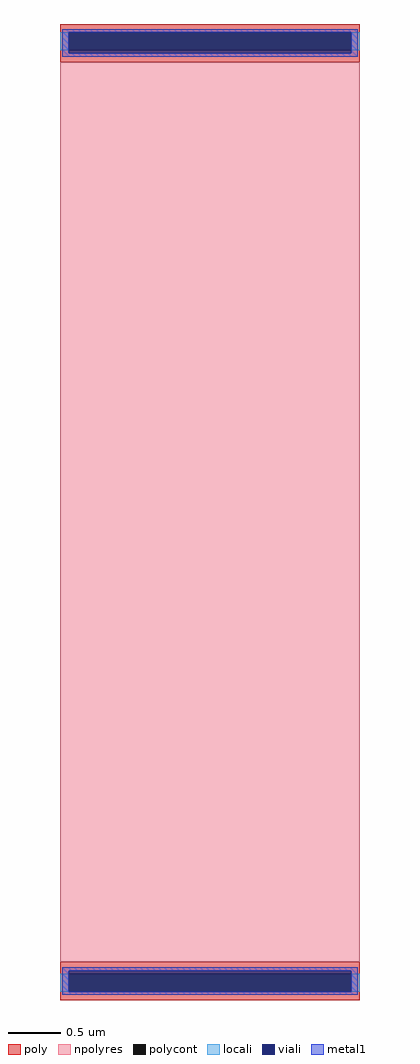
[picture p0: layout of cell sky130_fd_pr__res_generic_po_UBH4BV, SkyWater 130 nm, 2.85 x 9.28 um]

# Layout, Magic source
magic
tech sky130A
magscale 1 2
<< poly >>
rect -285 912 285 928
rect -285 878 -269 912
rect 269 878 285 912
rect -285 855 285 878
rect -285 -878 285 -855
rect -285 -912 -269 -878
rect 269 -912 285 -878
rect -285 -928 285 -912
<< polycont >>
rect -269 878 269 912
rect -269 -912 269 -878
<< npolyres >>
rect -285 -855 285 855
<< locali >>
rect -285 878 -269 912
rect 269 878 285 912
rect -285 -912 -269 -878
rect 269 -912 285 -878
<< viali >>
rect -269 878 269 912
rect -269 872 269 878
rect -269 -878 269 -872
rect -269 -912 269 -878
<< metal1 >>
rect -281 912 281 918
rect -281 872 -269 912
rect 269 872 281 912
rect -281 866 281 872
rect -281 -872 281 -866
rect -281 -912 -269 -872
rect 269 -912 281 -872
rect -281 -918 281 -912
<< properties >>
string gencell sky130_fd_pr__res_generic_po
string parameters w 2.85 l 8.55 m 1 nx 1 wmin 0.330 lmin 1.650 rho 48.2 val 144.6 dummy 0 dw 0.0 term 0.0 sterm 0.0 caplen 0.4 snake 0 guard 0 glc 0 grc 0 gtc 0 gbc 0 roverlap 0 endcov 100 full_metal 0 hv_guard 0 n_guard 0 vias 1 viagb 0 viagt 0 viagl 0 viagr 0
string library sky130
<< end >>
